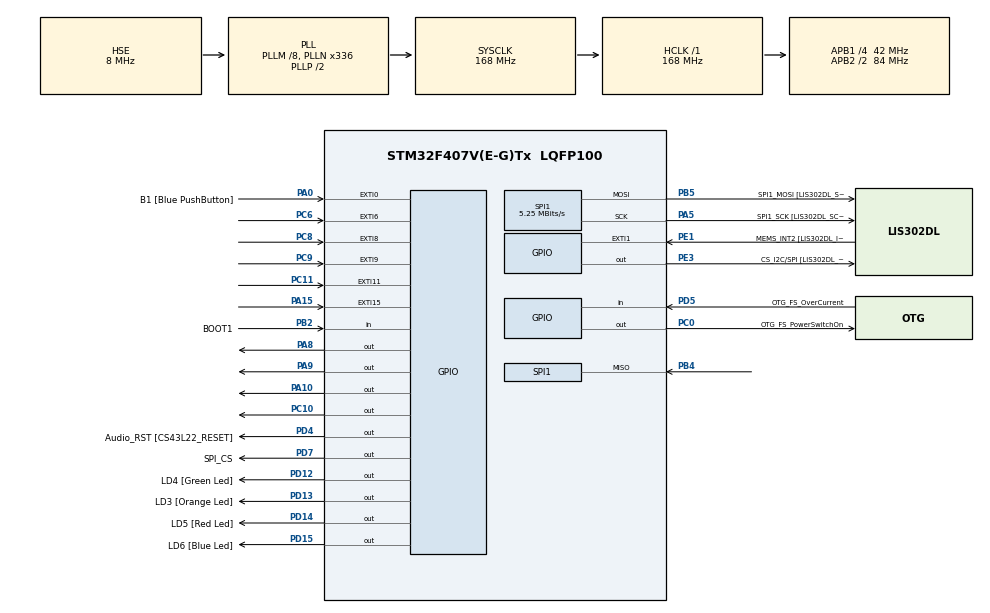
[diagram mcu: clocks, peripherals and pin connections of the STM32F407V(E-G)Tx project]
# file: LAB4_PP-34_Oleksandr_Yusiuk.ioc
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Mcu.Family=STM32F4
Mcu.Name=STM32F407V(E-G)Tx
Mcu.Package=LQFP100
NVIC.EXTI15_10_IRQn=true\:0\:0\:false\:false\:true\:true\:true\:true
NVIC.EXTI9_5_IRQn=true\:0\:0\:false\:false\:true\:true\:true\:true
NVIC.PriorityGroup=NVIC_PRIORITYGROUP_0
NVIC.RCC_IRQn=true\:0\:0\:false\:false\:true\:true\:false\:true
PA0-WKUP.GPIO_Label=B1 [Blue PushButton]
PA0-WKUP.Signal=GPXTI0
PA10.Signal=GPIO_Output
PA13.GPIO_Label=SWDIO
PA13.Mode=Serial_Wire
PA13.Signal=SYS_JTMS-SWDIO
PA14.GPIO_Label=SWCLK
PA14.Mode=Serial_Wire
PA14.Signal=SYS_JTCK-SWCLK
PA15.GPIO_ModeDefaultEXTI=GPIO_MODE_IT_RISING_FALLING
PA15.Signal=GPXTI15
PA5.GPIO_Label=SPI1_SCK [LIS302DL_SCL/SPC]
PA5.GPIO_Mode=GPIO_MODE_AF_PP
PA5.GPIO_PuPd=GPIO_NOPULL
PA5.GPIO_Speed=GPIO_SPEED_FREQ_LOW
PA5.Mode=Full_Duplex_Master
PA5.Signal=SPI1_SCK
PA8.Signal=GPIO_Output
PA9.Signal=GPIO_Output
PB10.GPIO_Label=CLK_IN [MP45DT02_CLK]
PB10.GPIO_Mode=GPIO_MODE_AF_PP
PB10.GPIO_PuPd=GPIO_NOPULL
PB10.GPIO_Speed=GPIO_SPEED_FREQ_LOW
PB10.Signal=I2S2_CK
PB2.GPIO_Label=BOOT1
PB2.GPIO_Mode=GPIO_MODE_INPUT
PB2.GPIO_PuPd=GPIO_NOPULL
PB2.Signal=GPIO_Input
PB3.GPIO_Label=SWO
PB3.Signal=SYS_JTDO-SWO
PB4.Mode=Full_Duplex_Master
PB4.Signal=SPI1_MISO
PB5.GPIO_Label=SPI1_MOSI [LIS302DL_SDA/SDI/SDO]
PB5.GPIO_Mode=GPIO_MODE_AF_PP
PB5.GPIO_PuPd=GPIO_NOPULL
PB5.GPIO_Speed=GPIO_SPEED_FREQ_LOW
PB5.Mode=Full_Duplex_Master
PB5.Signal=SPI1_MOSI
PB6.GPIO_Label=Audio_SCL [CS43L22_SCL]
PB6.GPIO_Mode=GPIO_MODE_AF_OD
PB6.GPIO_PuPd=GPIO_NOPULL
PB6.GPIO_Speed=GPIO_SPEED_FREQ_LOW
PB6.Signal=I2C1_SCL
PB9.GPIO_Label=Audio_SDA [CS43L22_SDA]
PB9.GPIO_Mode=GPIO_MODE_AF_OD
PB9.GPIO_PuPd=GPIO_NOPULL
PB9.GPIO_Speed=GPIO_SPEED_FREQ_LOW
PB9.Signal=I2C1_SDA
PC0.GPIO_Label=OTG_FS_PowerSwitchOn
PC0.GPIO_PuPd=GPIO_NOPULL
PC0.GPIO_Speed=GPIO_SPEED_FREQ_LOW
PC0.PinState=GPIO_PIN_SET
PC0.Signal=GPIO_Output
PC10.Signal=GPIO_Output
PC11.GPIO_ModeDefaultEXTI=GPIO_MODE_IT_RISING_FALLING
PC11.Signal=GPXTI11
PC12.GPIO_Label=I2S3_SD [CS43L22_SDIN]
PC12.GPIO_Mode=GPIO_MODE_AF_PP
PC12.GPIO_PuPd=GPIO_NOPULL
PC12.GPIO_Speed=GPIO_SPEED_FREQ_LOW
PC12.Signal=I2S3_SD
PC14-OSC32_IN.GPIO_Label=PC14-OSC32_IN
PC14-OSC32_IN.Mode=LSE-External-Oscillator
PC14-OSC32_IN.Signal=RCC_OSC32_IN
PC15-OSC32_OUT.GPIO_Label=PC15-OSC32_OUT
PC15-OSC32_OUT.Mode=LSE-External-Oscillator
PC15-OSC32_OUT.Signal=RCC_OSC32_OUT
PC3.GPIO_Label=PDM_OUT [MP45DT02_DOUT]
PC3.GPIO_Mode=GPIO_MODE_AF_PP
PC3.GPIO_PuPd=GPIO_NOPULL
PC3.GPIO_Speed=GPIO_SPEED_FREQ_LOW
PC3.Signal=I2S2_SD
PC6.GPIO_ModeDefaultEXTI=GPIO_MODE_IT_RISING_FALLING
PC6.Signal=GPXTI6
PC7.GPIO_Label=I2S3_MCK [CS43L22_MCLK]
PC7.GPIO_Mode=GPIO_MODE_AF_PP
PC7.GPIO_PuPd=GPIO_NOPULL
PC7.GPIO_Speed=GPIO_SPEED_FREQ_LOW
PC7.Signal=I2S3_MCK
PC8.GPIO_ModeDefaultEXTI=GPIO_MODE_IT_RISING_FALLING
PC8.Signal=GPXTI8
PC9.GPIO_ModeDefaultEXTI=GPIO_MODE_IT_RISING_FALLING
PC9.Signal=GPXTI9
PD12.GPIO_Label=LD4 [Green Led]
PD12.GPIO_PuPd=GPIO_NOPULL
PD12.GPIO_Speed=GPIO_SPEED_FREQ_LOW
PD12.Signal=GPIO_Output
PD13.GPIO_Label=LD3 [Orange Led]
PD13.GPIO_PuPd=GPIO_NOPULL
PD13.GPIO_Speed=GPIO_SPEED_FREQ_LOW
PD13.Signal=GPIO_Output
PD14.GPIO_Label=LD5 [Red Led]
PD14.GPIO_PuPd=GPIO_NOPULL
PD14.GPIO_Speed=GPIO_SPEED_FREQ_LOW
PD14.Signal=GPIO_Output
PD15.GPIO_Label=LD6 [Blue Led]
PD15.GPIO_PuPd=GPIO_NOPULL
PD15.GPIO_Speed=GPIO_SPEED_FREQ_LOW
PD15.Signal=GPIO_Output
PD4.GPIO_Label=Audio_RST [CS43L22_RESET]
PD4.GPIO_PuPd=GPIO_NOPULL
PD4.GPIO_Speed=GPIO_SPEED_FREQ_LOW
PD4.Signal=GPIO_Output
PD5.GPIO_Label=OTG_FS_OverCurrent
PD5.GPIO_Mode=GPIO_MODE_INPUT
PD5.GPIO_PuPd=GPIO_NOPULL
PD5.Signal=GPIO_Input
PD7.GPIO_Label=SPI_CS
PD7.PinState=GPIO_PIN_SET
PD7.Signal=GPIO_Output
PE1.GPIO_Label=MEMS_INT2 [LIS302DL_INT2]
PE1.GPIO_ModeDefaultEXTI=GPIO_MODE_EVT_RISING
PE1.GPIO_PuPd=GPIO_NOPULL
PE1.Signal=GPXTI1
PE3.GPIO_Label=CS_I2C/SPI [LIS302DL_CS_I2C/SPI]
PE3.GPIO_PuPd=GPIO_NOPULL
PE3.GPIO_Speed=GPIO_SPEED_FREQ_LOW
PE3.Signal=GPIO_Output
PH0-OSC_IN.GPIO_Label=PH0-OSC_IN
PH0-OSC_IN.Mode=HSE-External-Oscillator
PH0-OSC_IN.Signal=RCC_OSC_IN
PH1-OSC_OUT.GPIO_Label=PH1-OSC_OUT
PH1-OSC_OUT.Mode=HSE-External-Oscillator
PH1-OSC_OUT.Signal=RCC_OSC_OUT
ProjectManager.HeapSize=0x200
ProjectManager.StackSize=0x400
ProjectManager.TargetToolchain=STM32CubeIDE
RCC.48MHZClocksFreq_Value=48000000
RCC.AHBFreq_Value=168000000
RCC.APB1CLKDivider=RCC_HCLK_DIV4
RCC.APB1Freq_Value=42000000
RCC.APB1TimFreq_Value=84000000
RCC.APB2CLKDivider=RCC_HCLK_DIV2
RCC.APB2Freq_Value=84000000
RCC.APB2TimFreq_Value=168000000
RCC.CortexFreq_Value=168000000
RCC.HCLKFreq_Value=168000000
RCC.HSE_VALUE=8000000
RCC.HSI_VALUE=16000000
RCC.PLLM=8
RCC.PLLN=336
RCC.PLLQ=7
RCC.PLLSourceVirtual=RCC_PLLSOURCE_HSE
RCC.SYSCLKFreq_VALUE=168000000
RCC.SYSCLKSource=RCC_SYSCLKSOURCE_PLLCLK
RCC.VCOOutputFreq_Value=336000000
SPI1.BaudRatePrescaler=SPI_BAUDRATEPRESCALER_16
SPI1.CalculateBaudRate=5.25 MBits/s
SPI1.Direction=SPI_DIRECTION_2LINES
SPI1.Mode=SPI_MODE_MASTER
SPI1.VirtualType=VM_MASTER
TIM1.Prescaler=142
VP_TIM1_VS_ClockSourceINT.Mode=Internal
board=STM32F407G-DISC1

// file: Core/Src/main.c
/* USER CODE BEGIN Header */
/**
  ******************************************************************************
  * @file           : main.c
  * @brief          : Main program body
  ******************************************************************************
  * @attention
  *
  * Copyright (c) 2024 STMicroelectronics.
  * All rights reserved.
  *
  * This software is licensed under terms that can be found in the LICENSE file
  * in the root directory of this software component.
  * If no LICENSE file comes with this software, it is provided AS-IS.
  *
  ******************************************************************************
  */
/* USER CODE END Header */
#include "main.h"

SPI_HandleTypeDef hspi1;

TIM_HandleTypeDef htim1;

void SystemClock_Config(void);
static void MX_GPIO_Init(void);
static void MX_SPI1_Init(void);
static void MX_TIM1_Init(void);

/* USER CODE BEGIN 0 */
#define IN1_PIN GPIO_PIN_8
#define IN1_PORT GPIOA
#define IN2_PIN GPIO_PIN_9
#define IN2_PORT GPIOA
#define IN3_PIN GPIO_PIN_10
#define IN3_PORT GPIOA
#define IN4_PIN GPIO_PIN_10
#define IN4_PORT GPIOC
#define FLASH_START_ADDRESS  0x000000 // Define starting addres

#define BUFFER_SIZE 10  // Розмір циклічного буфера
uint32_t speed_buffer[BUFFER_SIZE];
uint8_t flag_buffer[BUFFER_SIZE];
uint8_t write_index = 0;  // Позиція для запису
uint8_t read_index = 0;   // Позиція для читання

volatile uint32_t speed = 0;
volatile uint8_t flag = 0;
volatile uint8_t counterSpeed = 0;

void microDelay (uint16_t delay)
{
  __HAL_TIM_SET_COUNTER(&htim1, 0);
  while (__HAL_TIM_GET_COUNTER(&htim1) < delay);
}

void stepCCV (int steps) // CCV - Counter Clockwise
{
  uint32_t delay;
  for(int x=0; x<steps; x=x+1)
  {
	delay = 14649 / speed;

    HAL_GPIO_WritePin(IN1_PORT, IN1_PIN, GPIO_PIN_SET);   // IN1
    HAL_GPIO_WritePin(IN2_PORT, IN2_PIN, GPIO_PIN_RESET); // IN2
    HAL_GPIO_WritePin(IN3_PORT, IN3_PIN, GPIO_PIN_RESET); // IN3
    HAL_GPIO_WritePin(IN4_PORT, IN4_PIN, GPIO_PIN_RESET); // IN4
    microDelay(delay);
    HAL_GPIO_WritePin(IN1_PORT, IN1_PIN, GPIO_PIN_SET);   // IN1
    HAL_GPIO_WritePin(IN2_PORT, IN2_PIN, GPIO_PIN_SET);   // IN2
    HAL_GPIO_WritePin(IN3_PORT, IN3_PIN, GPIO_PIN_RESET); // IN3
    HAL_GPIO_WritePin(IN4_PORT, IN4_PIN, GPIO_PIN_RESET); // IN4
    microDelay(delay);
    HAL_GPIO_WritePin(IN1_PORT, IN1_PIN, GPIO_PIN_RESET); // IN1
    HAL_GPIO_WritePin(IN2_PORT, IN2_PIN, GPIO_PIN_SET);   // IN2
    HAL_GPIO_WritePin(IN3_PORT, IN3_PIN, GPIO_PIN_RESET); // IN3
    HAL_GPIO_WritePin(IN4_PORT, IN4_PIN, GPIO_PIN_RESET); // IN4
    microDelay(delay);
    HAL_GPIO_WritePin(IN1_PORT, IN1_PIN, GPIO_PIN_RESET); // IN1
    HAL_GPIO_WritePin(IN2_PORT, IN2_PIN, GPIO_PIN_SET);   // IN2
    HAL_GPIO_WritePin(IN3_PORT, IN3_PIN, GPIO_PIN_SET);   // IN3
    HAL_GPIO_WritePin(IN4_PORT, IN4_PIN, GPIO_PIN_RESET); // IN4
    microDelay(delay);
    HAL_GPIO_WritePin(IN1_PORT, IN1_PIN, GPIO_PIN_RESET); // IN1
    HAL_GPIO_WritePin(IN2_PORT, IN2_PIN, GPIO_PIN_RESET); // IN2
    HAL_GPIO_WritePin(IN3_PORT, IN3_PIN, GPIO_PIN_SET);   // IN3
    HAL_GPIO_WritePin(IN4_PORT, IN4_PIN, GPIO_PIN_RESET); // IN4
    microDelay(delay);
    HAL_GPIO_WritePin(IN1_PORT, IN1_PIN, GPIO_PIN_RESET); // IN1
    HAL_GPIO_WritePin(IN2_PORT, IN2_PIN, GPIO_PIN_RESET); // IN2
    HAL_GPIO_WritePin(IN3_PORT, IN3_PIN, GPIO_PIN_SET);   // IN3
    HAL_GPIO_WritePin(IN4_PORT, IN4_PIN, GPIO_PIN_SET);   // IN4
    microDelay(delay);
    HAL_GPIO_WritePin(IN1_PORT, IN1_PIN, GPIO_PIN_RESET); // IN1
    HAL_GPIO_WritePin(IN2_PORT, IN2_PIN, GPIO_PIN_RESET); // IN2
    HAL_GPIO_WritePin(IN3_PORT, IN3_PIN, GPIO_PIN_RESET); // IN3
    HAL_GPIO_WritePin(IN4_PORT, IN4_PIN, GPIO_PIN_SET);   // IN4
    microDelay(delay);
    HAL_GPIO_WritePin(IN1_PORT, IN1_PIN, GPIO_PIN_SET);   // IN1
    HAL_GPIO_WritePin(IN2_PORT, IN2_PIN, GPIO_PIN_RESET); // IN2
    HAL_GPIO_WritePin(IN3_PORT, IN3_PIN, GPIO_PIN_RESET); // IN3
    HAL_GPIO_WritePin(IN4_PORT, IN4_PIN, GPIO_PIN_SET);   // IN4
    microDelay(delay);
  }
}

void stepCV (int steps) // CV - Clockwise
{
  uint32_t delay;

  for(int x=0; x<steps; x=x+1)
  {
	delay = 14649 / speed;
    HAL_GPIO_WritePin(IN1_PORT, IN1_PIN, GPIO_PIN_SET);   // IN1
    HAL_GPIO_WritePin(IN2_PORT, IN2_PIN, GPIO_PIN_RESET); // IN2
    HAL_GPIO_WritePin(IN3_PORT, IN3_PIN, GPIO_PIN_RESET); // IN3
    HAL_GPIO_WritePin(IN4_PORT, IN4_PIN, GPIO_PIN_SET);   // IN4
    microDelay(delay);
    HAL_GPIO_WritePin(IN1_PORT, IN1_PIN, GPIO_PIN_RESET); // IN1
    HAL_GPIO_WritePin(IN2_PORT, IN2_PIN, GPIO_PIN_RESET); // IN2
    HAL_GPIO_WritePin(IN3_PORT, IN3_PIN, GPIO_PIN_RESET); // IN3
    HAL_GPIO_WritePin(IN4_PORT, IN4_PIN, GPIO_PIN_SET);   // IN4
    microDelay(delay);
    HAL_GPIO_WritePin(IN1_PORT, IN1_PIN, GPIO_PIN_RESET); // IN1
    HAL_GPIO_WritePin(IN2_PORT, IN2_PIN, GPIO_PIN_RESET); // IN2
    HAL_GPIO_WritePin(IN3_PORT, IN3_PIN, GPIO_PIN_SET);   // IN3
    HAL_GPIO_WritePin(IN4_PORT, IN4_PIN, GPIO_PIN_SET);   // IN4
    microDelay(delay);
    HAL_GPIO_WritePin(IN1_PORT, IN1_PIN, GPIO_PIN_RESET); // IN1
    HAL_GPIO_WritePin(IN2_PORT, IN2_PIN, GPIO_PIN_RESET); // IN2
    HAL_GPIO_WritePin(IN3_PORT, IN3_PIN, GPIO_PIN_SET);   // IN3
    HAL_GPIO_WritePin(IN4_PORT, IN4_PIN, GPIO_PIN_RESET); // IN4
    microDelay(delay);
    HAL_GPIO_WritePin(IN1_PORT, IN1_PIN, GPIO_PIN_RESET); // IN1
    HAL_GPIO_WritePin(IN2_PORT, IN2_PIN, GPIO_PIN_SET);   // IN2
    HAL_GPIO_WritePin(IN3_PORT, IN3_PIN, GPIO_PIN_SET);   // IN3
    HAL_GPIO_WritePin(IN4_PORT, IN4_PIN, GPIO_PIN_RESET); // IN4
    microDelay(delay);
    HAL_GPIO_WritePin(IN1_PORT, IN1_PIN, GPIO_PIN_RESET); // IN1
    HAL_GPIO_WritePin(IN2_PORT, IN2_PIN, GPIO_PIN_SET);   // IN2
    HAL_GPIO_WritePin(IN3_PORT, IN3_PIN, GPIO_PIN_RESET); // IN3
    HAL_GPIO_WritePin(IN4_PORT, IN4_PIN, GPIO_PIN_RESET); // IN4
    microDelay(delay);
    HAL_GPIO_WritePin(IN1_PORT, IN1_PIN, GPIO_PIN_SET);   // IN1
    HAL_GPIO_WritePin(IN2_PORT, IN2_PIN, GPIO_PIN_SET);   // IN2
    HAL_GPIO_WritePin(IN3_PORT, IN3_PIN, GPIO_PIN_RESET); // IN3
    HAL_GPIO_WritePin(IN4_PORT, IN4_PIN, GPIO_PIN_RESET); // IN4
    microDelay(delay);
    HAL_GPIO_WritePin(IN1_PORT, IN1_PIN, GPIO_PIN_SET);   // IN1
    HAL_GPIO_WritePin(IN2_PORT, IN2_PIN, GPIO_PIN_RESET); // IN2
    HAL_GPIO_WritePin(IN3_PORT, IN3_PIN, GPIO_PIN_RESET); // IN3
    HAL_GPIO_WritePin(IN4_PORT, IN4_PIN, GPIO_PIN_RESET); // IN4
    microDelay(delay);
  }
}

// Function to enable writing to flash
void write_enable() {
    uint8_t cmd = 0x06;
    HAL_GPIO_WritePin(GPIOB, GPIO_PIN_12, GPIO_PIN_RESET); // CS Low
    HAL_SPI_Transmit(&hspi1, &cmd, 1, HAL_MAX_DELAY);
    HAL_GPIO_WritePin(GPIOB, GPIO_PIN_12, GPIO_PIN_SET);   // CS High
}

// Function to erase a sector before writing new data
void erase_sector(uint32_t address) {
    uint8_t cmd[4] = {0x20, (address >> 16) & 0xFF, (address >> 8) & 0xFF, address & 0xFF};
    HAL_GPIO_WritePin(GPIOB, GPIO_PIN_12, GPIO_PIN_RESET); // CS Low
    HAL_SPI_Transmit(&hspi1, cmd, 4, HAL_MAX_DELAY);
    HAL_GPIO_WritePin(GPIOB, GPIO_PIN_12, GPIO_PIN_SET);   // CS High
}

// Function to save data to flash
void save_to_flash(uint32_t value1, uint8_t value2) {
    uint8_t data[5];

    // Convert values to byte format
    data[0] = (value1 >> 24) & 0xFF;
    data[1] = (value1 >> 16) & 0xFF;
    data[2] = (value1 >> 8) & 0xFF;
    data[3] = value1 & 0xFF;

    data[4] = value2;

    // Enable write
    write_enable();

    // Erase the sector where data will be stored
    erase_sector(FLASH_START_ADDRESS);

    // Write data
    uint8_t cmd[4] = {0x02, (FLASH_START_ADDRESS >> 16) & 0xFF, (FLASH_START_ADDRESS >> 8) & 0xFF, FLASH_START_ADDRESS & 0xFF};
    HAL_GPIO_WritePin(GPIOB, GPIO_PIN_12, GPIO_PIN_RESET); // CS Low
    HAL_SPI_Transmit(&hspi1, cmd, 4, HAL_MAX_DELAY);       // Send write command and address
    HAL_SPI_Transmit(&hspi1, data, 5, HAL_MAX_DELAY);      // Send data
    HAL_GPIO_WritePin(GPIOB, GPIO_PIN_12, GPIO_PIN_SET);   // CS High
}

// Function to read data from flash
void read_from_flash(uint32_t *value1, uint8_t *value2) {
    uint8_t buffer[5];
    uint8_t cmd[4] = {0x03, (FLASH_START_ADDRESS >> 16) & 0xFF, (FLASH_START_ADDRESS >> 8) & 0xFF, FLASH_START_ADDRESS & 0xFF};

    HAL_GPIO_WritePin(GPIOB, GPIO_PIN_12, GPIO_PIN_RESET); // CS Low
    HAL_SPI_Transmit(&hspi1, cmd, 4, HAL_MAX_DELAY);       // Send read command and address
    HAL_SPI_Receive(&hspi1, buffer, 5, HAL_MAX_DELAY);     // Receive data
    HAL_GPIO_WritePin(GPIOB, GPIO_PIN_12, GPIO_PIN_SET);   // CS High

    // Reconstruct values from byte format
    *value1 = (buffer[0] << 24) | (buffer[1] << 16) | (buffer[2] << 8) | buffer[3];
    *value2 = buffer[4];
}

void HAL_GPIO_EXTI_Callback(uint16_t GPIO_Pin)
{
	  if(HAL_GPIO_ReadPin(GPIOC,GPIO_PIN_11) == GPIO_PIN_RESET){
	   flag = 1;
	  }
	  if(HAL_GPIO_ReadPin(GPIOA,GPIO_PIN_15) == GPIO_PIN_RESET){
	      save_to_flash(speed, flag);
//	      save_to_flash_from_buffer();
	  }
	  if(HAL_GPIO_ReadPin(GPIOC,GPIO_PIN_9) == GPIO_PIN_RESET){
	   flag = 2;
	  }
	  if(HAL_GPIO_ReadPin(GPIOC,GPIO_PIN_6) == GPIO_PIN_RESET){
	  counterSpeed = (counterSpeed +1)% 3;

	  switch(counterSpeed){
	  	 case 0:
	  		 speed = 1;
	  		 break;
	  	 case 1:
	  		 speed = 7;
	  		 break;
	  	 case 2:
	  		 speed = 13;
	  		 break;
	  }
	  }
	  if(HAL_GPIO_ReadPin(GPIOC,GPIO_PIN_8) == GPIO_PIN_RESET){
	   flag = 0;
	  }

}
//
//void save_to_buffer(uint32_t value1, uint8_t value2) {
//    speed_buffer[write_index] = value1;
//    flag_buffer[write_index] = value2;
//    write_index = (write_index + 1) % BUFFER_SIZE;
//
//    // Якщо буфер заповнений, то зсуваємо позицію читання на один крок
//    if (write_index == read_index) {
//        read_index = (read_index + 1) % BUFFER_SIZE;
//    }
//}
//
//// Функція для читання даних із циклічного буфера
//void read_from_buffer(uint32_t *value1, uint8_t *value2) {
//    if (read_index != write_index) {  // Перевірка, що буфер не порожній
//        *value1 = speed_buffer[read_index];
//        *value2 = flag_buffer[read_index];
//        read_index = (read_index + 1) % BUFFER_SIZE;
//    }
//}
//
//// В модифікованій функції збереження даних у флеш-пам’ять
//void save_to_flash_from_buffer() {
//    if (read_index != write_index) {
//        uint32_t speed;
//        uint8_t flag;
//        read_from_buffer(&speed, &flag);  // Читання з буфера
//
//        // Використання функцій для запису у флеш
//        write_enable();
//        erase_sector(FLASH_START_ADDRESS);
//        save_to_flash(speed, flag);
//    }
//}

/* USER CODE END 0 */

int main(void)
{

  /* USER CODE BEGIN 1 */
	// Example values to save

  /* USER CODE END 1 */

  /* MCU Configuration--------------------------------------------------------*/

  /* Reset of all peripherals, Initializes the Flash interface and the Systick. */
  HAL_Init();

  /* Configure the system clock */
  SystemClock_Config();

  /* Initialize all configured peripherals */
  MX_GPIO_Init();
  MX_SPI1_Init();
  MX_TIM1_Init();
  /* USER CODE BEGIN 2 */
  HAL_TIM_Base_Start(&htim1);
  read_from_flash(&speed, &flag);

  /* USER CODE END 2 */

  /* Infinite loop */
  while (1)
  {

    /* USER CODE BEGIN 3 */
	  switch(flag){
	 	case 1:
	 	  stepCV(1);
	 	  break;
	 	case 2:
	 	  stepCCV(1);
	 	  break;
	 	default:
	 	  break;
	   }
  }
  /* USER CODE END 3 */
}

void SystemClock_Config(void)
{
  RCC_OscInitTypeDef RCC_OscInitStruct = {0};
  RCC_ClkInitTypeDef RCC_ClkInitStruct = {0};

  /** Configure the main internal regulator output voltage
  */
  __HAL_RCC_PWR_CLK_ENABLE();
  __HAL_PWR_VOLTAGESCALING_CONFIG(PWR_REGULATOR_VOLTAGE_SCALE1);

  /** Initializes the RCC Oscillators according to the specified parameters
  * in the RCC_OscInitTypeDef structure.
  */
  RCC_OscInitStruct.OscillatorType = RCC_OSCILLATORTYPE_HSE;
  RCC_OscInitStruct.HSEState = RCC_HSE_ON;
  RCC_OscInitStruct.PLL.PLLState = RCC_PLL_ON;
  RCC_OscInitStruct.PLL.PLLSource = RCC_PLLSOURCE_HSE;
  RCC_OscInitStruct.PLL.PLLM = 8;
  RCC_OscInitStruct.PLL.PLLN = 336;
  RCC_OscInitStruct.PLL.PLLP = RCC_PLLP_DIV2;
  RCC_OscInitStruct.PLL.PLLQ = 7;
  if (HAL_RCC_OscConfig(&RCC_OscInitStruct) != HAL_OK)
  {
    Error_Handler();
  }

  /** Initializes the CPU, AHB and APB buses clocks
  */
  RCC_ClkInitStruct.ClockType = RCC_CLOCKTYPE_HCLK|RCC_CLOCKTYPE_SYSCLK
                              |RCC_CLOCKTYPE_PCLK1|RCC_CLOCKTYPE_PCLK2;
  RCC_ClkInitStruct.SYSCLKSource = RCC_SYSCLKSOURCE_PLLCLK;
  RCC_ClkInitStruct.AHBCLKDivider = RCC_SYSCLK_DIV1;
  RCC_ClkInitStruct.APB1CLKDivider = RCC_HCLK_DIV4;
  RCC_ClkInitStruct.APB2CLKDivider = RCC_HCLK_DIV2;

  if (HAL_RCC_ClockConfig(&RCC_ClkInitStruct, FLASH_LATENCY_5) != HAL_OK)
  {
    Error_Handler();
  }
}

static void MX_SPI1_Init(void)
{

  /* SPI1 parameter configuration*/
  hspi1.Instance = SPI1;
  hspi1.Init.Mode = SPI_MODE_MASTER;
  hspi1.Init.Direction = SPI_DIRECTION_2LINES;
  hspi1.Init.DataSize = SPI_DATASIZE_8BIT;
  hspi1.Init.CLKPolarity = SPI_POLARITY_LOW;
  hspi1.Init.CLKPhase = SPI_PHASE_1EDGE;
  hspi1.Init.NSS = SPI_NSS_SOFT;
  hspi1.Init.BaudRatePrescaler = SPI_BAUDRATEPRESCALER_16;
  hspi1.Init.FirstBit = SPI_FIRSTBIT_MSB;
  hspi1.Init.TIMode = SPI_TIMODE_DISABLE;
  hspi1.Init.CRCCalculation = SPI_CRCCALCULATION_DISABLE;
  hspi1.Init.CRCPolynomial = 10;
  if (HAL_SPI_Init(&hspi1) != HAL_OK)
  {
    Error_Handler();
  }

}

static void MX_TIM1_Init(void)
{

  TIM_ClockConfigTypeDef sClockSourceConfig = {0};
  TIM_MasterConfigTypeDef sMasterConfig = {0};

  htim1.Instance = TIM1;
  htim1.Init.Prescaler = 142;
  htim1.Init.CounterMode = TIM_COUNTERMODE_UP;
  htim1.Init.Period = 65535;
  htim1.Init.ClockDivision = TIM_CLOCKDIVISION_DIV1;
  htim1.Init.RepetitionCounter = 0;
  htim1.Init.AutoReloadPreload = TIM_AUTORELOAD_PRELOAD_DISABLE;
  if (HAL_TIM_Base_Init(&htim1) != HAL_OK)
  {
    Error_Handler();
  }
  sClockSourceConfig.ClockSource = TIM_CLOCKSOURCE_INTERNAL;
  if (HAL_TIM_ConfigClockSource(&htim1, &sClockSourceConfig) != HAL_OK)
  {
    Error_Handler();
  }
  sMasterConfig.MasterOutputTrigger = TIM_TRGO_RESET;
  sMasterConfig.MasterSlaveMode = TIM_MASTERSLAVEMODE_DISABLE;
  if (HAL_TIMEx_MasterConfigSynchronization(&htim1, &sMasterConfig) != HAL_OK)
  {
    Error_Handler();
  }

}

static void MX_GPIO_Init(void)
{
  GPIO_InitTypeDef GPIO_InitStruct = {0};

  /* GPIO Ports Clock Enable */
  __HAL_RCC_GPIOE_CLK_ENABLE();
  __HAL_RCC_GPIOC_CLK_ENABLE();
  __HAL_RCC_GPIOH_CLK_ENABLE();
  __HAL_RCC_GPIOA_CLK_ENABLE();
  __HAL_RCC_GPIOB_CLK_ENABLE();
  __HAL_RCC_GPIOD_CLK_ENABLE();

  /*Configure GPIO pin Output Level */
  HAL_GPIO_WritePin(CS_I2C_SPI_GPIO_Port, CS_I2C_SPI_Pin, GPIO_PIN_RESET);

  /*Configure GPIO pin Output Level */
  HAL_GPIO_WritePin(OTG_FS_PowerSwitchOn_GPIO_Port, OTG_FS_PowerSwitchOn_Pin, GPIO_PIN_SET);

  /*Configure GPIO pin Output Level */
  HAL_GPIO_WritePin(GPIOD, LD4_Pin|LD3_Pin|LD5_Pin|LD6_Pin
                          |Audio_RST_Pin, GPIO_PIN_RESET);

  /*Configure GPIO pin Output Level */
  HAL_GPIO_WritePin(GPIOA, GPIO_PIN_8|GPIO_PIN_9|GPIO_PIN_10, GPIO_PIN_RESET);

  /*Configure GPIO pin Output Level */
  HAL_GPIO_WritePin(GPIOC, GPIO_PIN_10, GPIO_PIN_RESET);

  /*Configure GPIO pin Output Level */
  HAL_GPIO_WritePin(SPI_CS_GPIO_Port, SPI_CS_Pin, GPIO_PIN_SET);

  /*Configure GPIO pin : CS_I2C_SPI_Pin */
  GPIO_InitStruct.Pin = CS_I2C_SPI_Pin;
  GPIO_InitStruct.Mode = GPIO_MODE_OUTPUT_PP;
  GPIO_InitStruct.Pull = GPIO_NOPULL;
  GPIO_InitStruct.Speed = GPIO_SPEED_FREQ_LOW;
  HAL_GPIO_Init(CS_I2C_SPI_GPIO_Port, &GPIO_InitStruct);

  /*Configure GPIO pins : OTG_FS_PowerSwitchOn_Pin PC10 */
  GPIO_InitStruct.Pin = OTG_FS_PowerSwitchOn_Pin|GPIO_PIN_10;
  GPIO_InitStruct.Mode = GPIO_MODE_OUTPUT_PP;
  GPIO_InitStruct.Pull = GPIO_NOPULL;
  GPIO_InitStruct.Speed = GPIO_SPEED_FREQ_LOW;
  HAL_GPIO_Init(GPIOC, &GPIO_InitStruct);

  /*Configure GPIO pin : PDM_OUT_Pin */
  GPIO_InitStruct.Pin = PDM_OUT_Pin;
  GPIO_InitStruct.Mode = GPIO_MODE_AF_PP;
  GPIO_InitStruct.Pull = GPIO_NOPULL;
  GPIO_InitStruct.Speed = GPIO_SPEED_FREQ_LOW;
  GPIO_InitStruct.Alternate = GPIO_AF5_SPI2;
  HAL_GPIO_Init(PDM_OUT_GPIO_Port, &GPIO_InitStruct);

  /*Configure GPIO pin : B1_Pin */
  GPIO_InitStruct.Pin = B1_Pin;
  GPIO_InitStruct.Mode = GPIO_MODE_IT_RISING;
  GPIO_InitStruct.Pull = GPIO_NOPULL;
  HAL_GPIO_Init(B1_GPIO_Port, &GPIO_InitStruct);

  /*Configure GPIO pin : BOOT1_Pin */
  GPIO_InitStruct.Pin = BOOT1_Pin;
  GPIO_InitStruct.Mode = GPIO_MODE_INPUT;
  GPIO_InitStruct.Pull = GPIO_NOPULL;
  HAL_GPIO_Init(BOOT1_GPIO_Port, &GPIO_InitStruct);

  /*Configure GPIO pin : CLK_IN_Pin */
  GPIO_InitStruct.Pin = CLK_IN_Pin;
  GPIO_InitStruct.Mode = GPIO_MODE_AF_PP;
  GPIO_InitStruct.Pull = GPIO_NOPULL;
  GPIO_InitStruct.Speed = GPIO_SPEED_FREQ_LOW;
  GPIO_InitStruct.Alternate = GPIO_AF5_SPI2;
  HAL_GPIO_Init(CLK_IN_GPIO_Port, &GPIO_InitStruct);

  /*Configure GPIO pins : LD4_Pin LD3_Pin LD5_Pin LD6_Pin
                           Audio_RST_Pin SPI_CS_Pin */
  GPIO_InitStruct.Pin = LD4_Pin|LD3_Pin|LD5_Pin|LD6_Pin
                          |Audio_RST_Pin|SPI_CS_Pin;
  GPIO_InitStruct.Mode = GPIO_MODE_OUTPUT_PP;
  GPIO_InitStruct.Pull = GPIO_NOPULL;
  GPIO_InitStruct.Speed = GPIO_SPEED_FREQ_LOW;
  HAL_GPIO_Init(GPIOD, &GPIO_InitStruct);

  /*Configure GPIO pins : PC6 PC8 PC9 PC11 */
  GPIO_InitStruct.Pin = GPIO_PIN_6|GPIO_PIN_8|GPIO_PIN_9|GPIO_PIN_11;
  GPIO_InitStruct.Mode = GPIO_MODE_IT_RISING_FALLING;
  GPIO_InitStruct.Pull = GPIO_NOPULL;
  HAL_GPIO_Init(GPIOC, &GPIO_InitStruct);

  /*Configure GPIO pins : I2S3_MCK_Pin I2S3_SD_Pin */
  GPIO_InitStruct.Pin = I2S3_MCK_Pin|I2S3_SD_Pin;
  GPIO_InitStruct.Mode = GPIO_MODE_AF_PP;
  GPIO_InitStruct.Pull = GPIO_NOPULL;
  GPIO_InitStruct.Speed = GPIO_SPEED_FREQ_LOW;
  GPIO_InitStruct.Alternate = GPIO_AF6_SPI3;
  HAL_GPIO_Init(GPIOC, &GPIO_InitStruct);

  /*Configure GPIO pins : PA8 PA9 PA10 */
  GPIO_InitStruct.Pin = GPIO_PIN_8|GPIO_PIN_9|GPIO_PIN_10;
  GPIO_InitStruct.Mode = GPIO_MODE_OUTPUT_PP;
  GPIO_InitStruct.Pull = GPIO_NOPULL;
  GPIO_InitStruct.Speed = GPIO_SPEED_FREQ_LOW;
  HAL_GPIO_Init(GPIOA, &GPIO_InitStruct);

  /*Configure GPIO pin : PA15 */
  GPIO_InitStruct.Pin = GPIO_PIN_15;
  GPIO_InitStruct.Mode = GPIO_MODE_IT_RISING_FALLING;
  GPIO_InitStruct.Pull = GPIO_NOPULL;
  HAL_GPIO_Init(GPIOA, &GPIO_InitStruct);

  /*Configure GPIO pin : OTG_FS_OverCurrent_Pin */
  GPIO_InitStruct.Pin = OTG_FS_OverCurrent_Pin;
  GPIO_InitStruct.Mode = GPIO_MODE_INPUT;
  GPIO_InitStruct.Pull = GPIO_NOPULL;
  HAL_GPIO_Init(OTG_FS_OverCurrent_GPIO_Port, &GPIO_InitStruct);

  /*Configure GPIO pins : Audio_SCL_Pin Audio_SDA_Pin */
  GPIO_InitStruct.Pin = Audio_SCL_Pin|Audio_SDA_Pin;
  GPIO_InitStruct.Mode = GPIO_MODE_AF_OD;
  GPIO_InitStruct.Pull = GPIO_NOPULL;
  GPIO_InitStruct.Speed = GPIO_SPEED_FREQ_LOW;
  GPIO_InitStruct.Alternate = GPIO_AF4_I2C1;
  HAL_GPIO_Init(GPIOB, &GPIO_InitStruct);

  /*Configure GPIO pin : MEMS_INT2_Pin */
  GPIO_InitStruct.Pin = MEMS_INT2_Pin;
  GPIO_InitStruct.Mode = GPIO_MODE_EVT_RISING;
  GPIO_InitStruct.Pull = GPIO_NOPULL;
  HAL_GPIO_Init(MEMS_INT2_GPIO_Port, &GPIO_InitStruct);

  /* EXTI interrupt init*/
  HAL_NVIC_SetPriority(EXTI9_5_IRQn, 0, 0);
  HAL_NVIC_EnableIRQ(EXTI9_5_IRQn);

  HAL_NVIC_SetPriority(EXTI15_10_IRQn, 0, 0);
  HAL_NVIC_EnableIRQ(EXTI15_10_IRQn);

}

void Error_Handler(void)
{
  __disable_irq();
  while (1)
  {
  }
}
